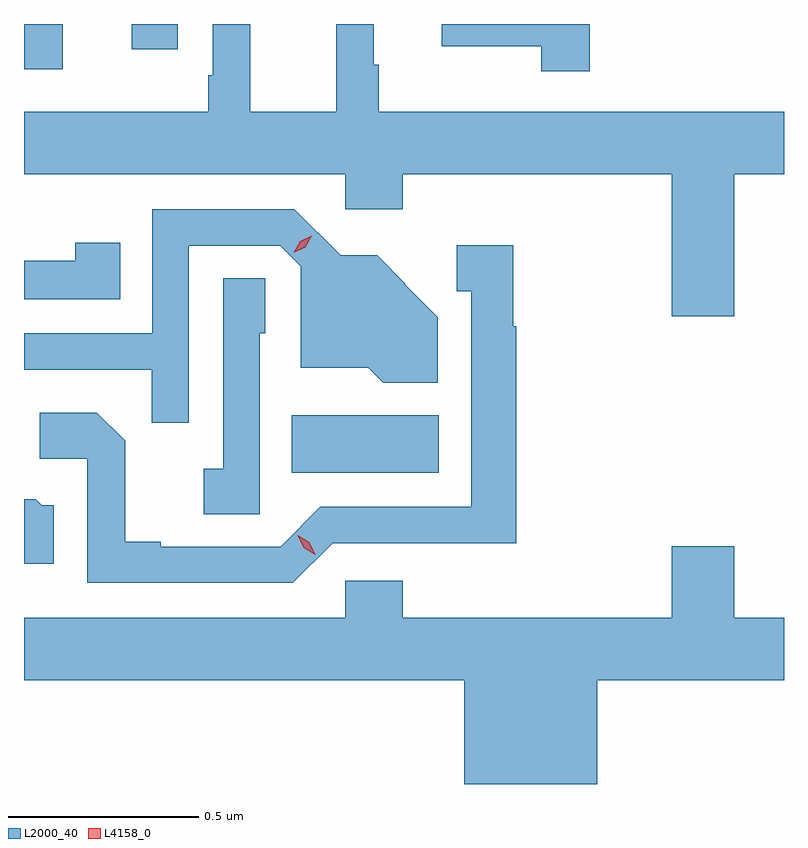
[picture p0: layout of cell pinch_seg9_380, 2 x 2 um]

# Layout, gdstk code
import gdstk
lib = gdstk.Library(unit=1e-6, precision=1e-09)
def R(c, l, rs):  # rectangles x0, y0, x1, y1
    for r in rs: c.add(gdstk.rectangle(r[:2], r[2:], *l))
def P(c, l, *ps):  # polygons
    for p in ps: c.add(gdstk.Polygon(p, *l))
L2000_40 = (2000, 40)
L4158_0 = (4158, 0)

pinch_seg9_380 = lib.new_cell('pinch_seg9_380')
R(pinch_seg9_380, L2000_40, [(391.78,1208.954,392.167,1209.106), (391.075,1210.016,391.177,1210.135), (391.358,1210.068,391.48,1210.135)])
P(pinch_seg9_380, L2000_40, [(392.564,1210.135),(392.174,1210.135),(392.174,1210.076),(392.436,1210.076),(392.436,1210.011),(392.564,1210.011)],
  [(391.897,1209.904),(391.671,1209.904),(391.671,1210.135),(391.572,1210.135),(391.572,1210),(391.56,1210),(391.56,1209.904),(391.075,1209.904),(391.075,1209.74),(391.92,1209.74),(391.92,1209.647),(392.072,1209.647),(392.072,1209.74),(392.78,1209.74),(392.78,1209.366),(392.944,1209.366),(392.944,1209.74),(393.075,1209.74),(393.075,1209.904),(392.008,1209.904),(392.008,1210.028),(391.996,1210.028),(391.996,1210.135),(391.897,1210.135)],
  [(391.509,1209.552),(391.749,1209.552),(391.803,1209.498),(391.803,1209.23),(391.981,1209.23),(392.02,1209.191),(392.164,1209.191),(392.164,1209.363),(392.076,1209.451),(392.078,1209.452),(392.004,1209.526),(391.908,1209.526),(391.786,1209.648),(391.413,1209.648),(391.413,1209.321),(391.075,1209.321),(391.075,1209.225),(391.411,1209.225),(391.411,1209.086),(391.509,1209.086)],
  [(391.328,1209.559),(391.21,1209.559),(391.21,1209.512),(391.075,1209.512),(391.075,1209.411),(391.328,1209.411)],
  [(391.887,1208.769),(392.12,1208.769),(392.12,1208.768),(392.371,1208.768),(392.371,1209.34),(392.363,1209.34),(392.363,1209.553),(392.214,1209.553),(392.214,1209.432),(392.252,1209.432),(392.252,1208.865),(391.855,1208.865),(391.75,1208.76),(391.435,1208.76),(391.435,1208.773),(391.341,1208.773),(391.341,1209.038),(391.266,1209.112),(391.116,1209.112),(391.116,1208.991),(391.242,1208.991),(391.242,1208.664),(391.782,1208.664)],
  [(391.695,1209.321),(391.71,1209.321),(391.71,1209.466),(391.599,1209.466),(391.599,1208.964),(391.548,1208.964),(391.548,1208.845),(391.695,1208.845)],
  [(391.153,1208.868),(391.122,1208.868),(391.106,1208.884),(391.075,1208.884),(391.075,1208.714),(391.153,1208.714)],
  [(392.584,1208.408),(393.075,1208.408),(393.075,1208.572),(392.944,1208.572),(392.944,1208.761),(392.78,1208.761),(392.78,1208.572),(392.072,1208.572),(392.072,1208.67),(391.92,1208.67),(391.92,1208.572),(391.075,1208.572),(391.075,1208.408),(392.234,1208.408),(392.234,1208.135),(392.584,1208.135)])
P(pinch_seg9_380, L4158_0, [(391.841,1208.738),(391.811,1208.757),(391.795,1208.79),(391.795,1208.79),(391.795,1208.79),(391.826,1208.771),(391.842,1208.739),(391.842,1208.738)],
  [(391.785,1209.533),(391.785,1209.533),(391.802,1209.563),(391.832,1209.578),(391.832,1209.578),(391.832,1209.578),(391.815,1209.548),(391.785,1209.533)])

lib.write_gds('pinch_seg9_380.gds')
